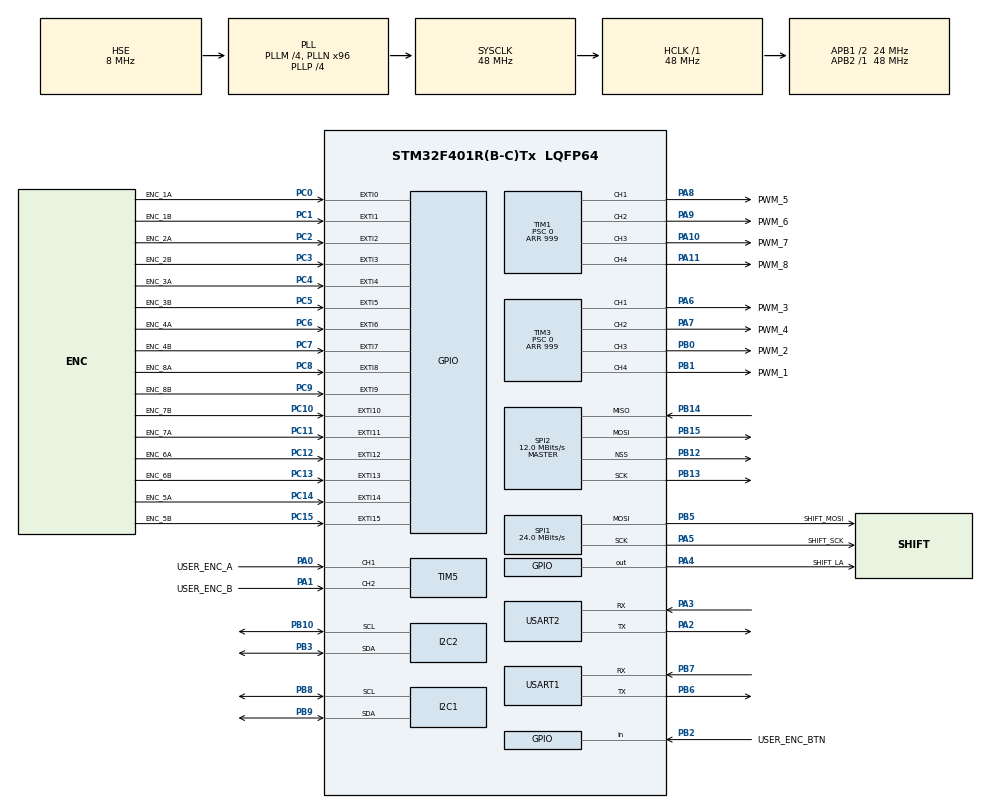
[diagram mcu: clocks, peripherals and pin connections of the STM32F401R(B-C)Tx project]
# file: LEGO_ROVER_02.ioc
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Mcu.Family=STM32F4
Mcu.Name=STM32F401R(B-C)Tx
Mcu.Package=LQFP64
NVIC.PriorityGroup=NVIC_PRIORITYGROUP_4
NVIC.USART1_IRQn=true\:0\:0\:false\:false\:true\:true\:true
NVIC.USART2_IRQn=true\:0\:0\:false\:false\:true\:true\:true
PA0-WKUP.GPIO_Label=USER_ENC_A
PA0-WKUP.Signal=S_TIM5_CH1
PA1.GPIO_Label=USER_ENC_B
PA1.Signal=S_TIM5_CH2
PA10.GPIO_Label=PWM_7
PA10.GPIO_ModeDefaultPP=GPIO_MODE_AF_PP
PA10.GPIO_PuPd=GPIO_PULLUP
PA10.GPIO_Speed=GPIO_SPEED_FREQ_VERY_HIGH
PA10.Signal=S_TIM1_CH3
PA11.GPIO_Label=PWM_8
PA11.GPIO_ModeDefaultPP=GPIO_MODE_AF_PP
PA11.GPIO_PuPd=GPIO_PULLUP
PA11.GPIO_Speed=GPIO_SPEED_FREQ_VERY_HIGH
PA11.Signal=S_TIM1_CH4
PA13.Mode=Serial_Wire
PA13.Signal=SYS_JTMS-SWDIO
PA14.Mode=Serial_Wire
PA14.Signal=SYS_JTCK-SWCLK
PA2.Mode=Asynchronous
PA2.Signal=USART2_TX
PA3.Mode=Asynchronous
PA3.Signal=USART2_RX
PA4.GPIO_Label=SHIFT_LA
PA4.Signal=GPIO_Output
PA5.GPIO_Label=SHIFT_SCK
PA5.Mode=TX_Only_Simplex_Unidirect_Master
PA5.Signal=SPI1_SCK
PA6.GPIO_Label=PWM_3
PA6.GPIO_ModeDefaultPP=GPIO_MODE_AF_PP
PA6.GPIO_PuPd=GPIO_PULLUP
PA6.GPIO_Speed=GPIO_SPEED_FREQ_VERY_HIGH
PA6.Signal=S_TIM3_CH1
PA7.GPIO_Label=PWM_4
PA7.GPIO_ModeDefaultPP=GPIO_MODE_AF_PP
PA7.GPIO_PuPd=GPIO_PULLUP
PA7.GPIO_Speed=GPIO_SPEED_FREQ_VERY_HIGH
PA7.Signal=S_TIM3_CH2
PA8.GPIO_Label=PWM_5
PA8.GPIO_ModeDefaultPP=GPIO_MODE_AF_PP
PA8.GPIO_PuPd=GPIO_PULLUP
PA8.GPIO_Speed=GPIO_SPEED_FREQ_VERY_HIGH
PA8.Signal=S_TIM1_CH1
PA9.GPIO_Label=PWM_6
PA9.GPIO_ModeDefaultPP=GPIO_MODE_AF_PP
PA9.GPIO_PuPd=GPIO_PULLUP
PA9.GPIO_Speed=GPIO_SPEED_FREQ_VERY_HIGH
PA9.Signal=S_TIM1_CH2
PB0.GPIO_Label=PWM_2
PB0.GPIO_ModeDefaultPP=GPIO_MODE_AF_PP
PB0.GPIO_PuPd=GPIO_PULLUP
PB0.GPIO_Speed=GPIO_SPEED_FREQ_VERY_HIGH
PB0.Signal=S_TIM3_CH3
PB1.GPIO_Label=PWM_1
PB1.GPIO_ModeDefaultPP=GPIO_MODE_AF_PP
PB1.GPIO_PuPd=GPIO_PULLUP
PB1.GPIO_Speed=GPIO_SPEED_FREQ_VERY_HIGH
PB1.Signal=S_TIM3_CH4
PB10.Mode=I2C
PB10.Signal=I2C2_SCL
PB12.Mode=NSS_Signal_Hard_Output
PB12.Signal=SPI2_NSS
PB13.Mode=Full_Duplex_Master
PB13.Signal=SPI2_SCK
PB14.Mode=Full_Duplex_Master
PB14.Signal=SPI2_MISO
PB15.Mode=Full_Duplex_Master
PB15.Signal=SPI2_MOSI
PB2.GPIO_Label=USER_ENC_BTN
PB2.Signal=GPIO_Input
PB3.Mode=I2C
PB3.Signal=I2C2_SDA
PB5.GPIO_Label=SHIFT_MOSI
PB5.Mode=TX_Only_Simplex_Unidirect_Master
PB5.Signal=SPI1_MOSI
PB6.Mode=Asynchronous
PB6.Signal=USART1_TX
PB7.Mode=Asynchronous
PB7.Signal=USART1_RX
PB8.Mode=I2C
PB8.Signal=I2C1_SCL
PB9.Mode=I2C
PB9.Signal=I2C1_SDA
PC0.GPIO_Label=ENC_1A
PC0.Signal=GPXTI0
PC1.GPIO_Label=ENC_1B
PC1.Signal=GPXTI1
PC10.GPIO_Label=ENC_7B
PC10.Signal=GPXTI10
PC11.GPIO_Label=ENC_7A
PC11.Signal=GPXTI11
PC12.GPIO_Label=ENC_6A
PC12.Signal=GPXTI12
PC13-ANTI_TAMP.GPIO_Label=ENC_6B
PC13-ANTI_TAMP.Signal=GPXTI13
PC14-OSC32_IN.GPIO_Label=ENC_5A
PC14-OSC32_IN.Signal=GPXTI14
PC15-OSC32_OUT.GPIO_Label=ENC_5B
PC15-OSC32_OUT.Signal=GPXTI15
PC2.GPIO_Label=ENC_2A
PC2.Signal=GPXTI2
PC3.GPIO_Label=ENC_2B
PC3.Signal=GPXTI3
PC4.GPIO_Label=ENC_3A
PC4.Signal=GPXTI4
PC5.GPIO_Label=ENC_3B
PC5.Signal=GPXTI5
PC6.GPIO_Label=ENC_4A
PC6.Signal=GPXTI6
PC7.GPIO_Label=ENC_4B
PC7.Signal=GPXTI7
PC8.GPIO_Label=ENC_8A
PC8.Signal=GPXTI8
PC9.GPIO_Label=ENC_8B
PC9.Signal=GPXTI9
PH0\ -\ OSC_IN.Mode=HSE-External-Oscillator
PH0\ -\ OSC_IN.Signal=RCC_OSC_IN
PH1\ -\ OSC_OUT.Mode=HSE-External-Oscillator
PH1\ -\ OSC_OUT.Signal=RCC_OSC_OUT
ProjectManager.HeapSize=0x200
ProjectManager.StackSize=0x400
ProjectManager.TargetToolchain=Other Toolchains (GPDSC)
RCC.48MHZClocksFreq_Value=48000000
RCC.AHBFreq_Value=48000000
RCC.APB1CLKDivider=RCC_HCLK_DIV2
RCC.APB1Freq_Value=24000000
RCC.APB1TimFreq_Value=48000000
RCC.APB2Freq_Value=48000000
RCC.APB2TimFreq_Value=48000000
RCC.CortexFreq_Value=48000000
RCC.HCLKFreq_Value=48000000
RCC.HSE_VALUE=8000000
RCC.HSI_VALUE=16000000
RCC.LSE_VALUE=32768
RCC.PLLM=4
RCC.PLLN=96
RCC.PLLP=RCC_PLLP_DIV4
RCC.PLLSourceVirtual=RCC_PLLSOURCE_HSE
RCC.SYSCLKFreq_VALUE=48000000
RCC.SYSCLKSource=RCC_SYSCLKSOURCE_PLLCLK
RCC.VCOOutputFreq_Value=192000000
SH.S_TIM1_CH1.0=TIM1_CH1,PWM Generation1 CH1
SH.S_TIM1_CH2.0=TIM1_CH2,PWM Generation2 CH2
SH.S_TIM1_CH3.0=TIM1_CH3,PWM Generation3 CH3
SH.S_TIM1_CH4.0=TIM1_CH4,PWM Generation4 CH4
SH.S_TIM3_CH1.0=TIM3_CH1,PWM Generation1 CH1
SH.S_TIM3_CH2.0=TIM3_CH2,PWM Generation2 CH2
SH.S_TIM3_CH3.0=TIM3_CH3,PWM Generation3 CH3
SH.S_TIM3_CH4.0=TIM3_CH4,PWM Generation4 CH4
SH.S_TIM5_CH1.0=TIM5_CH1,Encoder_Interface
SH.S_TIM5_CH2.0=TIM5_CH2,Encoder_Interface
SPI1.BaudRatePrescaler=SPI_BAUDRATEPRESCALER_2
SPI1.CalculateBaudRate=24.0 MBits/s
SPI1.DataSize=SPI_DATASIZE_16BIT
SPI1.Direction=SPI_DIRECTION_2LINES
SPI1.Mode=SPI_MODE_MASTER
SPI1.VirtualType=VM_MASTER
SPI2.BaudRatePrescaler=SPI_BAUDRATEPRESCALER_2
SPI2.CalculateBaudRate=12.0 MBits/s
SPI2.Direction=SPI_DIRECTION_2LINES
SPI2.Mode=SPI_MODE_MASTER
SPI2.VirtualNSS=VM_NSSHARD
SPI2.VirtualType=VM_MASTER
TIM1.Channel-PWM\ Generation1\ CH1=TIM_CHANNEL_1
TIM1.Channel-PWM\ Generation2\ CH2=TIM_CHANNEL_2
TIM1.Channel-PWM\ Generation3\ CH3=TIM_CHANNEL_3
TIM1.Channel-PWM\ Generation4\ CH4=TIM_CHANNEL_4
TIM1.Period=999
TIM1.Prescaler=0
TIM3.Channel-PWM\ Generation1\ CH1=TIM_CHANNEL_1
TIM3.Channel-PWM\ Generation2\ CH2=TIM_CHANNEL_2
TIM3.Channel-PWM\ Generation3\ CH3=TIM_CHANNEL_3
TIM3.Channel-PWM\ Generation4\ CH4=TIM_CHANNEL_4
TIM3.Period=999
TIM3.Prescaler=0
USART1.VirtualMode=VM_ASYNC
USART2.VirtualMode=VM_ASYNC
VP_TIM1_VS_ClockSourceINT.Mode=Internal
VP_TIM3_VS_ClockSourceINT.Mode=Internal
board=custom

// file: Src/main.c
/* USER CODE BEGIN Header */
/**
  ******************************************************************************
  * @file           : main.c
  * @brief          : Main program body
  ******************************************************************************
  * @attention
  *
  * <h2><center>&copy; Copyright (c) 2019 STMicroelectronics.
  * All rights reserved.</center></h2>
  *
  * This software component is licensed by ST under BSD 3-Clause license,
  * the "License"; You may not use this file except in compliance with the
  * License. You may obtain a copy of the License at:
  *                        opensource.org/licenses/BSD-3-Clause
  *
  ******************************************************************************
  */
/* USER CODE END Header */

#include "main.h"

/* USER CODE BEGIN Includes */

#include "motor.h"
#include "basicFunction.h"
#include "comm.h"

/* USER CODE END Includes */

I2C_HandleTypeDef hi2c1;
I2C_HandleTypeDef hi2c2;

SPI_HandleTypeDef hspi1;
SPI_HandleTypeDef hspi2;

TIM_HandleTypeDef htim1;
TIM_HandleTypeDef htim3;
TIM_HandleTypeDef htim5;

UART_HandleTypeDef huart1;
UART_HandleTypeDef huart2;

/* USER CODE BEGIN PV */
/* Private variables ---------------------------------------------------------*/
int16_t x[8] = { 0, 0, 0, 0, 0, 0, 0, 0 };
int16_t y;
/* USER CODE END PV */

void SystemClock_Config(void);
static void MX_GPIO_Init(void);
static void MX_I2C1_Init(void);
static void MX_I2C2_Init(void);
static void MX_SPI1_Init(void);
static void MX_SPI2_Init(void);
static void MX_TIM1_Init(void);
static void MX_TIM3_Init(void);
static void MX_TIM5_Init(void);
static void MX_USART1_UART_Init(void);
static void MX_USART2_UART_Init(void);
/* USER CODE BEGIN PFP */
/* Private function prototypes -----------------------------------------------*/
void HAL_SYSTICK_Callback(void)
{

}

/* USER CODE END PFP */

int main(void)
{

	/* MCU Configuration--------------------------------------------------------*/

	/* Reset of all peripherals, Initializes the Flash interface and the Systick. */
	HAL_Init();

	/* Configure the system clock */
	SystemClock_Config();

	/* Initialize all configured peripherals */
	MX_GPIO_Init();
	MX_I2C1_Init();
	MX_I2C2_Init();
	MX_SPI1_Init();
	MX_SPI2_Init();
	MX_TIM1_Init();
	MX_TIM3_Init();
	MX_TIM5_Init();
	MX_USART1_UART_Init();
	MX_USART2_UART_Init();
	/* USER CODE BEGIN 2 */

	PWM_Init();

	MOTOR_Init(&M1, 1);
	MOTOR_Enable(&M1);

	MOTOR_Init(&M2, 2);
	MOTOR_Enable(&M2);

	MOTOR_Init(&M3, 3);
	MOTOR_Enable(&M3);

	MOTOR_Init(&M4, 4);
	MOTOR_Enable(&M4);

	MOTOR_Init(&M5, 5);
	MOTOR_Enable(&M5);

	MOTOR_Init(&M6, 6);
	MOTOR_Enable(&M6);

	MOTOR_Init(&M7, 7);
	MOTOR_Enable(&M7);

	MOTOR_Init(&M8, 8);
	MOTOR_Enable(&M8);

	UART_Init();

	/* USER CODE END 2 */

	/* Infinite loop */
	/* USER CODE BEGIN WHILE */

	while (1)
	{
		static uint32_t oldTimeMotors = 0;
		/* USER CODE END WHILE */

		/* USER CODE BEGIN 3 */

		if (timeIsUp(oldTimeMotors, 10))
		{
			MOTOR_CyclicTask();
			SHIFT_Update();
		}

		UART_CyclicTask();

//		for (uint8_t i = 1; i <= 4; ++i)
//		{
//			MOTOR_SetPWM(M(i), 500);
//
//		}

		MOTOR_SetPWM(M(y), 500);

	}
	/* USER CODE END 3 */
}

void SystemClock_Config(void)
{
	RCC_OscInitTypeDef RCC_OscInitStruct = { 0 };
	RCC_ClkInitTypeDef RCC_ClkInitStruct = { 0 };

	/** Configure the main internal regulator output voltage
	*/
	__HAL_RCC_PWR_CLK_ENABLE();
	__HAL_PWR_VOLTAGESCALING_CONFIG(PWR_REGULATOR_VOLTAGE_SCALE2);
	/** Initializes the CPU, AHB and APB busses clocks
	*/
	RCC_OscInitStruct.OscillatorType = RCC_OSCILLATORTYPE_HSE;
	RCC_OscInitStruct.HSEState = RCC_HSE_ON;
	RCC_OscInitStruct.PLL.PLLState = RCC_PLL_ON;
	RCC_OscInitStruct.PLL.PLLSource = RCC_PLLSOURCE_HSE;
	RCC_OscInitStruct.PLL.PLLM = 4;
	RCC_OscInitStruct.PLL.PLLN = 96;
	RCC_OscInitStruct.PLL.PLLP = RCC_PLLP_DIV4;
	RCC_OscInitStruct.PLL.PLLQ = 4;
	if (HAL_RCC_OscConfig(&RCC_OscInitStruct) != HAL_OK)
	{
		Error_Handler();
	}
	/** Initializes the CPU, AHB and APB busses clocks
	*/
	RCC_ClkInitStruct.ClockType = RCC_CLOCKTYPE_HCLK | RCC_CLOCKTYPE_SYSCLK
	                            | RCC_CLOCKTYPE_PCLK1 | RCC_CLOCKTYPE_PCLK2;
	RCC_ClkInitStruct.SYSCLKSource = RCC_SYSCLKSOURCE_PLLCLK;
	RCC_ClkInitStruct.AHBCLKDivider = RCC_SYSCLK_DIV1;
	RCC_ClkInitStruct.APB1CLKDivider = RCC_HCLK_DIV2;
	RCC_ClkInitStruct.APB2CLKDivider = RCC_HCLK_DIV1;

	if (HAL_RCC_ClockConfig(&RCC_ClkInitStruct, FLASH_LATENCY_1) != HAL_OK)
	{
		Error_Handler();
	}
}

static void MX_I2C1_Init(void)
{

	hi2c1.Instance = I2C1;
	hi2c1.Init.ClockSpeed = 100000;
	hi2c1.Init.DutyCycle = I2C_DUTYCYCLE_2;
	hi2c1.Init.OwnAddress1 = 0;
	hi2c1.Init.AddressingMode = I2C_ADDRESSINGMODE_7BIT;
	hi2c1.Init.DualAddressMode = I2C_DUALADDRESS_DISABLE;
	hi2c1.Init.OwnAddress2 = 0;
	hi2c1.Init.GeneralCallMode = I2C_GENERALCALL_DISABLE;
	hi2c1.Init.NoStretchMode = I2C_NOSTRETCH_DISABLE;
	if (HAL_I2C_Init(&hi2c1) != HAL_OK)
	{
		Error_Handler();
	}

}

static void MX_I2C2_Init(void)
{

	hi2c2.Instance = I2C2;
	hi2c2.Init.ClockSpeed = 100000;
	hi2c2.Init.DutyCycle = I2C_DUTYCYCLE_2;
	hi2c2.Init.OwnAddress1 = 0;
	hi2c2.Init.AddressingMode = I2C_ADDRESSINGMODE_7BIT;
	hi2c2.Init.DualAddressMode = I2C_DUALADDRESS_DISABLE;
	hi2c2.Init.OwnAddress2 = 0;
	hi2c2.Init.GeneralCallMode = I2C_GENERALCALL_DISABLE;
	hi2c2.Init.NoStretchMode = I2C_NOSTRETCH_DISABLE;
	if (HAL_I2C_Init(&hi2c2) != HAL_OK)
	{
		Error_Handler();
	}

}

static void MX_SPI1_Init(void)
{

	/* SPI1 parameter configuration*/
	hspi1.Instance = SPI1;
	hspi1.Init.Mode = SPI_MODE_MASTER;
	hspi1.Init.Direction = SPI_DIRECTION_2LINES;
	hspi1.Init.DataSize = SPI_DATASIZE_16BIT;
	hspi1.Init.CLKPolarity = SPI_POLARITY_LOW;
	hspi1.Init.CLKPhase = SPI_PHASE_1EDGE;
	hspi1.Init.NSS = SPI_NSS_SOFT;
	hspi1.Init.BaudRatePrescaler = SPI_BAUDRATEPRESCALER_2;
	hspi1.Init.FirstBit = SPI_FIRSTBIT_MSB;
	hspi1.Init.TIMode = SPI_TIMODE_DISABLE;
	hspi1.Init.CRCCalculation = SPI_CRCCALCULATION_DISABLE;
	hspi1.Init.CRCPolynomial = 10;
	if (HAL_SPI_Init(&hspi1) != HAL_OK)
	{
		Error_Handler();
	}

}

static void MX_SPI2_Init(void)
{

	/* SPI2 parameter configuration*/
	hspi2.Instance = SPI2;
	hspi2.Init.Mode = SPI_MODE_MASTER;
	hspi2.Init.Direction = SPI_DIRECTION_2LINES;
	hspi2.Init.DataSize = SPI_DATASIZE_8BIT;
	hspi2.Init.CLKPolarity = SPI_POLARITY_LOW;
	hspi2.Init.CLKPhase = SPI_PHASE_1EDGE;
	hspi2.Init.NSS = SPI_NSS_HARD_OUTPUT;
	hspi2.Init.BaudRatePrescaler = SPI_BAUDRATEPRESCALER_2;
	hspi2.Init.FirstBit = SPI_FIRSTBIT_MSB;
	hspi2.Init.TIMode = SPI_TIMODE_DISABLE;
	hspi2.Init.CRCCalculation = SPI_CRCCALCULATION_DISABLE;
	hspi2.Init.CRCPolynomial = 10;
	if (HAL_SPI_Init(&hspi2) != HAL_OK)
	{
		Error_Handler();
	}

}

static void MX_TIM1_Init(void)
{

	TIM_ClockConfigTypeDef sClockSourceConfig = { 0 };
	TIM_MasterConfigTypeDef sMasterConfig = { 0 };
	TIM_OC_InitTypeDef sConfigOC = { 0 };
	TIM_BreakDeadTimeConfigTypeDef sBreakDeadTimeConfig = { 0 };

	htim1.Instance = TIM1;
	htim1.Init.Prescaler = 0;
	htim1.Init.CounterMode = TIM_COUNTERMODE_UP;
	htim1.Init.Period = 999;
	htim1.Init.ClockDivision = TIM_CLOCKDIVISION_DIV1;
	htim1.Init.RepetitionCounter = 0;
	htim1.Init.AutoReloadPreload = TIM_AUTORELOAD_PRELOAD_DISABLE;
	if (HAL_TIM_Base_Init(&htim1) != HAL_OK)
	{
		Error_Handler();
	}
	sClockSourceConfig.ClockSource = TIM_CLOCKSOURCE_INTERNAL;
	if (HAL_TIM_ConfigClockSource(&htim1, &sClockSourceConfig) != HAL_OK)
	{
		Error_Handler();
	}
	if (HAL_TIM_PWM_Init(&htim1) != HAL_OK)
	{
		Error_Handler();
	}
	sMasterConfig.MasterOutputTrigger = TIM_TRGO_RESET;
	sMasterConfig.MasterSlaveMode = TIM_MASTERSLAVEMODE_DISABLE;
	if (HAL_TIMEx_MasterConfigSynchronization(&htim1, &sMasterConfig) != HAL_OK)
	{
		Error_Handler();
	}
	sConfigOC.OCMode = TIM_OCMODE_PWM1;
	sConfigOC.Pulse = 0;
	sConfigOC.OCPolarity = TIM_OCPOLARITY_HIGH;
	sConfigOC.OCNPolarity = TIM_OCNPOLARITY_HIGH;
	sConfigOC.OCFastMode = TIM_OCFAST_DISABLE;
	sConfigOC.OCIdleState = TIM_OCIDLESTATE_RESET;
	sConfigOC.OCNIdleState = TIM_OCNIDLESTATE_RESET;
	if (HAL_TIM_PWM_ConfigChannel(&htim1, &sConfigOC, TIM_CHANNEL_1) != HAL_OK)
	{
		Error_Handler();
	}
	if (HAL_TIM_PWM_ConfigChannel(&htim1, &sConfigOC, TIM_CHANNEL_2) != HAL_OK)
	{
		Error_Handler();
	}
	if (HAL_TIM_PWM_ConfigChannel(&htim1, &sConfigOC, TIM_CHANNEL_3) != HAL_OK)
	{
		Error_Handler();
	}
	if (HAL_TIM_PWM_ConfigChannel(&htim1, &sConfigOC, TIM_CHANNEL_4) != HAL_OK)
	{
		Error_Handler();
	}
	sBreakDeadTimeConfig.OffStateRunMode = TIM_OSSR_DISABLE;
	sBreakDeadTimeConfig.OffStateIDLEMode = TIM_OSSI_DISABLE;
	sBreakDeadTimeConfig.LockLevel = TIM_LOCKLEVEL_OFF;
	sBreakDeadTimeConfig.DeadTime = 0;
	sBreakDeadTimeConfig.BreakState = TIM_BREAK_DISABLE;
	sBreakDeadTimeConfig.BreakPolarity = TIM_BREAKPOLARITY_HIGH;
	sBreakDeadTimeConfig.AutomaticOutput = TIM_AUTOMATICOUTPUT_DISABLE;
	if (HAL_TIMEx_ConfigBreakDeadTime(&htim1, &sBreakDeadTimeConfig) != HAL_OK)
	{
		Error_Handler();
	}
	HAL_TIM_MspPostInit(&htim1);

}

static void MX_TIM3_Init(void)
{

	TIM_ClockConfigTypeDef sClockSourceConfig = { 0 };
	TIM_MasterConfigTypeDef sMasterConfig = { 0 };
	TIM_OC_InitTypeDef sConfigOC = { 0 };

	htim3.Instance = TIM3;
	htim3.Init.Prescaler = 0;
	htim3.Init.CounterMode = TIM_COUNTERMODE_UP;
	htim3.Init.Period = 999;
	htim3.Init.ClockDivision = TIM_CLOCKDIVISION_DIV1;
	htim3.Init.AutoReloadPreload = TIM_AUTORELOAD_PRELOAD_DISABLE;
	if (HAL_TIM_Base_Init(&htim3) != HAL_OK)
	{
		Error_Handler();
	}
	sClockSourceConfig.ClockSource = TIM_CLOCKSOURCE_INTERNAL;
	if (HAL_TIM_ConfigClockSource(&htim3, &sClockSourceConfig) != HAL_OK)
	{
		Error_Handler();
	}
	if (HAL_TIM_PWM_Init(&htim3) != HAL_OK)
	{
		Error_Handler();
	}
	sMasterConfig.MasterOutputTrigger = TIM_TRGO_RESET;
	sMasterConfig.MasterSlaveMode = TIM_MASTERSLAVEMODE_DISABLE;
	if (HAL_TIMEx_MasterConfigSynchronization(&htim3, &sMasterConfig) != HAL_OK)
	{
		Error_Handler();
	}
	sConfigOC.OCMode = TIM_OCMODE_PWM1;
	sConfigOC.Pulse = 0;
	sConfigOC.OCPolarity = TIM_OCPOLARITY_HIGH;
	sConfigOC.OCFastMode = TIM_OCFAST_DISABLE;
	if (HAL_TIM_PWM_ConfigChannel(&htim3, &sConfigOC, TIM_CHANNEL_1) != HAL_OK)
	{
		Error_Handler();
	}
	if (HAL_TIM_PWM_ConfigChannel(&htim3, &sConfigOC, TIM_CHANNEL_2) != HAL_OK)
	{
		Error_Handler();
	}
	if (HAL_TIM_PWM_ConfigChannel(&htim3, &sConfigOC, TIM_CHANNEL_3) != HAL_OK)
	{
		Error_Handler();
	}
	if (HAL_TIM_PWM_ConfigChannel(&htim3, &sConfigOC, TIM_CHANNEL_4) != HAL_OK)
	{
		Error_Handler();
	}
	HAL_TIM_MspPostInit(&htim3);

}

static void MX_TIM5_Init(void)
{

	TIM_Encoder_InitTypeDef sConfig = { 0 };
	TIM_MasterConfigTypeDef sMasterConfig = { 0 };

	htim5.Instance = TIM5;
	htim5.Init.Prescaler = 0;
	htim5.Init.CounterMode = TIM_COUNTERMODE_UP;
	htim5.Init.Period = 0;
	htim5.Init.ClockDivision = TIM_CLOCKDIVISION_DIV1;
	htim5.Init.AutoReloadPreload = TIM_AUTORELOAD_PRELOAD_DISABLE;
	sConfig.EncoderMode = TIM_ENCODERMODE_TI1;
	sConfig.IC1Polarity = TIM_ICPOLARITY_RISING;
	sConfig.IC1Selection = TIM_ICSELECTION_DIRECTTI;
	sConfig.IC1Prescaler = TIM_ICPSC_DIV1;
	sConfig.IC1Filter = 0;
	sConfig.IC2Polarity = TIM_ICPOLARITY_RISING;
	sConfig.IC2Selection = TIM_ICSELECTION_DIRECTTI;
	sConfig.IC2Prescaler = TIM_ICPSC_DIV1;
	sConfig.IC2Filter = 0;
	if (HAL_TIM_Encoder_Init(&htim5, &sConfig) != HAL_OK)
	{
		Error_Handler();
	}
	sMasterConfig.MasterOutputTrigger = TIM_TRGO_RESET;
	sMasterConfig.MasterSlaveMode = TIM_MASTERSLAVEMODE_DISABLE;
	if (HAL_TIMEx_MasterConfigSynchronization(&htim5, &sMasterConfig) != HAL_OK)
	{
		Error_Handler();
	}

}

static void MX_USART1_UART_Init(void)
{

	huart1.Instance = USART1;
	huart1.Init.BaudRate = 115200;
	huart1.Init.WordLength = UART_WORDLENGTH_8B;
	huart1.Init.StopBits = UART_STOPBITS_1;
	huart1.Init.Parity = UART_PARITY_NONE;
	huart1.Init.Mode = UART_MODE_TX_RX;
	huart1.Init.HwFlowCtl = UART_HWCONTROL_NONE;
	huart1.Init.OverSampling = UART_OVERSAMPLING_16;
	if (HAL_UART_Init(&huart1) != HAL_OK)
	{
		Error_Handler();
	}

}

static void MX_USART2_UART_Init(void)
{

	huart2.Instance = USART2;
	huart2.Init.BaudRate = 115200;
	huart2.Init.WordLength = UART_WORDLENGTH_8B;
	huart2.Init.StopBits = UART_STOPBITS_1;
	huart2.Init.Parity = UART_PARITY_NONE;
	huart2.Init.Mode = UART_MODE_TX_RX;
	huart2.Init.HwFlowCtl = UART_HWCONTROL_NONE;
	huart2.Init.OverSampling = UART_OVERSAMPLING_16;
	if (HAL_UART_Init(&huart2) != HAL_OK)
	{
		Error_Handler();
	}

}

static void MX_GPIO_Init(void)
{
	GPIO_InitTypeDef GPIO_InitStruct = { 0 };

	/* GPIO Ports Clock Enable */
	__HAL_RCC_GPIOC_CLK_ENABLE();
	__HAL_RCC_GPIOH_CLK_ENABLE();
	__HAL_RCC_GPIOA_CLK_ENABLE();
	__HAL_RCC_GPIOB_CLK_ENABLE();

	/*Configure GPIO pin Output Level */
	HAL_GPIO_WritePin(SHIFT_LA_GPIO_Port, SHIFT_LA_Pin, GPIO_PIN_RESET);

	/*Configure GPIO pins : ENC_6B_Pin ENC_5A_Pin ENC_5B_Pin ENC_1A_Pin
	                         ENC_1B_Pin ENC_2A_Pin ENC_2B_Pin ENC_3A_Pin
	                         ENC_3B_Pin ENC_4A_Pin ENC_4B_Pin ENC_8A_Pin
	                         ENC_8B_Pin ENC_7B_Pin ENC_7A_Pin ENC_6A_Pin */
	GPIO_InitStruct.Pin = ENC_6B_Pin | ENC_5A_Pin | ENC_5B_Pin | ENC_1A_Pin
	                        | ENC_1B_Pin | ENC_2A_Pin | ENC_2B_Pin | ENC_3A_Pin
	                        | ENC_3B_Pin | ENC_4A_Pin | ENC_4B_Pin | ENC_8A_Pin
	                        | ENC_8B_Pin | ENC_7B_Pin | ENC_7A_Pin | ENC_6A_Pin;
	GPIO_InitStruct.Mode = GPIO_MODE_IT_RISING;
	GPIO_InitStruct.Pull = GPIO_NOPULL;
	HAL_GPIO_Init(GPIOC, &GPIO_InitStruct);

	/*Configure GPIO pin : SHIFT_LA_Pin */
	GPIO_InitStruct.Pin = SHIFT_LA_Pin;
	GPIO_InitStruct.Mode = GPIO_MODE_OUTPUT_PP;
	GPIO_InitStruct.Pull = GPIO_NOPULL;
	GPIO_InitStruct.Speed = GPIO_SPEED_FREQ_LOW;
	HAL_GPIO_Init(SHIFT_LA_GPIO_Port, &GPIO_InitStruct);

	/*Configure GPIO pin : USER_ENC_BTN_Pin */
	GPIO_InitStruct.Pin = USER_ENC_BTN_Pin;
	GPIO_InitStruct.Mode = GPIO_MODE_INPUT;
	GPIO_InitStruct.Pull = GPIO_NOPULL;
	HAL_GPIO_Init(USER_ENC_BTN_GPIO_Port, &GPIO_InitStruct);

}

void Error_Handler(void)
{
	while (1)
	{
	}
}

/************************ (C) COPYRIGHT STMicroelectronics *****END OF FILE****/
